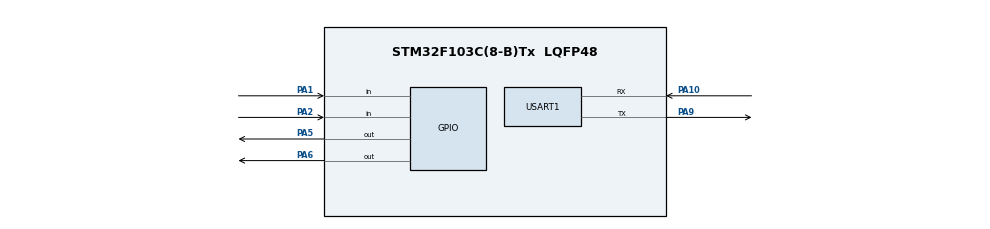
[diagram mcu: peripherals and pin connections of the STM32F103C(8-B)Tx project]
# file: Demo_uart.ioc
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Mcu.Family=STM32F1
Mcu.Name=STM32F103C(8-B)Tx
Mcu.Package=LQFP48
NVIC.PriorityGroup=NVIC_PRIORITYGROUP_4
NVIC.USART1_IRQn=true\:0\:0\:false\:false\:true\:true\:true\:true
PA0-WKUP.Mode=SYS_WakeUp0
PA0-WKUP.Signal=SYS_WKUP
PA1.GPIO_PuPd=GPIO_PULLUP
PA1.Signal=GPIO_Input
PA10.Mode=Multiprocessor_communication
PA10.Signal=USART1_RX
PA13.Mode=Serial_Wire
PA13.Signal=SYS_JTMS-SWDIO
PA14.Mode=Serial_Wire
PA14.Signal=SYS_JTCK-SWCLK
PA2.GPIO_PuPd=GPIO_PULLUP
PA2.Signal=GPIO_Input
PA5.Signal=GPIO_Output
PA6.Signal=GPIO_Output
PA9.Mode=Multiprocessor_communication
PA9.Signal=USART1_TX
PD0-OSC_IN.Mode=HSE-External-Oscillator
PD0-OSC_IN.Signal=RCC_OSC_IN
PD1-OSC_OUT.Mode=HSE-External-Oscillator
PD1-OSC_OUT.Signal=RCC_OSC_OUT
ProjectManager.HeapSize=0x200
ProjectManager.StackSize=0x400
ProjectManager.TargetToolchain=STM32CubeIDE
RCC.APB1Freq_Value=8000000
RCC.APB2Freq_Value=8000000
USART1.VirtualMode=VM_ASYNC
board=custom

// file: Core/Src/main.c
/* USER CODE BEGIN Header */
/**
  ******************************************************************************
  * @file           : main.c
  * @brief          : Main program body
  ******************************************************************************
  * @attention
  *
  * Copyright (c) 2025 STMicroelectronics.
  * All rights reserved.
  *
  * This software is licensed under terms that can be found in the LICENSE file
  * in the root directory of this software component.
  * If no LICENSE file comes with this software, it is provided AS-IS.
  *
  ******************************************************************************
  */
/* USER CODE END Header */
#include "main.h"
#include <stdio.h>
#include <string.h>

UART_HandleTypeDef huart1;

/* USER CODE BEGIN PV */

uint8_t led1_state = 0; //Biến trạng thái led1
uint8_t led2_state = 0; //Biến trạng thái led2

char rxBuffer[50]; // Bộ đệm lưu chuỗi nhận được
uint8_t rxIndex = 0; // Chỉ số bộ đệm
uint8_t rxChar; // Biến lưu ký tự nhận được

//Truyền kí tự ch qua Uart
int __io_putchar(int ch)
{
  HAL_UART_Transmit(&huart1, (uint8_t *)&ch, 1, HAL_MAX_DELAY); //(uint8_t*)&ch : ép kiểu sang con trỏ byte, vì UART cần địa chỉ byte để gửi
  return ch;
}

/* USER CODE END PV */

void SystemClock_Config(void);
static void MX_GPIO_Init(void);
static void MX_USART1_UART_Init(void);

int main(void)
{

  /* MCU Configuration--------------------------------------------------------*/

  /* Reset of all peripherals, Initializes the Flash interface and the Systick. */
  HAL_Init();

  /* Configure the system clock */
  SystemClock_Config();

  /* Initialize all configured peripherals */
  MX_GPIO_Init();
  MX_USART1_UART_Init();

  /* USER CODE BEGIN 2 */
  HAL_UART_Receive_IT(&huart1, &rxChar, 1); // Bắt đầu nhận ký tự đầu tiên
  printf("STM32 Ready\r\n");
  /* USER CODE END 2 */

  /* Infinite loop */
  /* USER CODE BEGIN WHILE */
  while (1)
  {
	  // Nút 1
	      if (HAL_GPIO_ReadPin(GPIOA, GPIO_PIN_1) == GPIO_PIN_RESET)
	      {
	        HAL_Delay(50); // Chống dội phím đơn giản
	        if (HAL_GPIO_ReadPin(GPIOA, GPIO_PIN_1) == GPIO_PIN_RESET)  // Kiểm tra lại lần nữa
	        {
	          led1_state = !led1_state; // Đảo trạng thái
	          HAL_GPIO_WritePin(GPIOA, GPIO_PIN_5, led1_state ? GPIO_PIN_SET : GPIO_PIN_RESET);

	          if (led1_state)
	            printf("LED1 ON\r\n");
	          else
	            printf("LED1 OFF\r\n");

	          // Chờ đến khi nhả nút
	          while (HAL_GPIO_ReadPin(GPIOA, GPIO_PIN_1) == GPIO_PIN_RESET);
	          HAL_Delay(50);  // Chống dội lần nhả
	        }
	      }

	      // Nút 2
	      if (HAL_GPIO_ReadPin(GPIOA, GPIO_PIN_2) == GPIO_PIN_RESET)
	      {
	        HAL_Delay(50);
	        if (HAL_GPIO_ReadPin(GPIOA, GPIO_PIN_2) == GPIO_PIN_RESET)
	        {
	          led2_state = !led2_state;
	          HAL_GPIO_WritePin(GPIOA, GPIO_PIN_6, led2_state ? GPIO_PIN_SET : GPIO_PIN_RESET);

	          if (led2_state)
	            printf("LED2 ON\r\n");
	          else
	            printf("LED2 OFF\r\n");

	          while (HAL_GPIO_ReadPin(GPIOA, GPIO_PIN_2) == GPIO_PIN_RESET);
	          HAL_Delay(50);
	        }
	      }

    /* USER CODE END WHILE */

  }
}

void SystemClock_Config(void)
{
  RCC_OscInitTypeDef RCC_OscInitStruct = {0};
  RCC_ClkInitTypeDef RCC_ClkInitStruct = {0};

  /** Initializes the RCC Oscillators according to the specified parameters
  * in the RCC_OscInitTypeDef structure.
  */
  RCC_OscInitStruct.OscillatorType = RCC_OSCILLATORTYPE_HSI;
  RCC_OscInitStruct.HSIState = RCC_HSI_ON;
  RCC_OscInitStruct.HSICalibrationValue = RCC_HSICALIBRATION_DEFAULT;
  RCC_OscInitStruct.PLL.PLLState = RCC_PLL_NONE;
  if (HAL_RCC_OscConfig(&RCC_OscInitStruct) != HAL_OK)
  {
    Error_Handler();
  }

  /** Initializes the CPU, AHB and APB buses clocks
  */
  RCC_ClkInitStruct.ClockType = RCC_CLOCKTYPE_HCLK|RCC_CLOCKTYPE_SYSCLK
                              |RCC_CLOCKTYPE_PCLK1|RCC_CLOCKTYPE_PCLK2;
  RCC_ClkInitStruct.SYSCLKSource = RCC_SYSCLKSOURCE_HSI;
  RCC_ClkInitStruct.AHBCLKDivider = RCC_SYSCLK_DIV1;
  RCC_ClkInitStruct.APB1CLKDivider = RCC_HCLK_DIV1;
  RCC_ClkInitStruct.APB2CLKDivider = RCC_HCLK_DIV1;

  if (HAL_RCC_ClockConfig(&RCC_ClkInitStruct, FLASH_LATENCY_0) != HAL_OK)
  {
    Error_Handler();
  }
}

static void MX_USART1_UART_Init(void)
{

  huart1.Instance = USART1;
  huart1.Init.BaudRate = 115200;
  huart1.Init.WordLength = UART_WORDLENGTH_8B;
  huart1.Init.StopBits = UART_STOPBITS_1;
  huart1.Init.Parity = UART_PARITY_NONE;
  huart1.Init.Mode = UART_MODE_TX_RX;
  huart1.Init.HwFlowCtl = UART_HWCONTROL_NONE;
  huart1.Init.OverSampling = UART_OVERSAMPLING_16;
  if (HAL_MultiProcessor_Init(&huart1, 0, UART_WAKEUPMETHOD_IDLELINE) != HAL_OK)
  {
    Error_Handler();
  }

}

static void MX_GPIO_Init(void)
{
  GPIO_InitTypeDef GPIO_InitStruct = {0};

  /* GPIO Ports Clock Enable */
  __HAL_RCC_GPIOD_CLK_ENABLE();
  __HAL_RCC_GPIOA_CLK_ENABLE();

  /*Configure GPIO pin Output Level */
  HAL_GPIO_WritePin(GPIOA, GPIO_PIN_5|GPIO_PIN_6, GPIO_PIN_RESET);

  /*Configure GPIO pins : PA1 PA2 */
  GPIO_InitStruct.Pin = GPIO_PIN_1|GPIO_PIN_2;
  GPIO_InitStruct.Mode = GPIO_MODE_INPUT;
  GPIO_InitStruct.Pull = GPIO_PULLUP;
  HAL_GPIO_Init(GPIOA, &GPIO_InitStruct);

  /*Configure GPIO pins : PA5 PA6 */
  GPIO_InitStruct.Pin = GPIO_PIN_5|GPIO_PIN_6;
  GPIO_InitStruct.Mode = GPIO_MODE_OUTPUT_PP;
  GPIO_InitStruct.Pull = GPIO_NOPULL;
  GPIO_InitStruct.Speed = GPIO_SPEED_FREQ_LOW;
  HAL_GPIO_Init(GPIOA, &GPIO_InitStruct);

}

/* USER CODE BEGIN 4 */
void HAL_UART_RxCpltCallback(UART_HandleTypeDef *huart)
{
  if (huart->Instance == USART1) 	//kiểm tra module uart
  {
	//Xử lí kí tự nhận được, kiểm tra xem chuỗi đã hoàn chỉnh chưa (r/ carriage return, n/ line feed
    if (rxChar == '\r' || rxChar == '\n') {
      rxBuffer[rxIndex] = '\0';			//đánh dâu kết thúc chuẩn C
      rxIndex = 0;						//đặt rxIndex để chuẩn bị nhận chuỗi mới

      printf("Received: [%s]\r\n", rxBuffer); // In chuỗi nhận được

      if (strstr(rxBuffer, "turn on led1")) {
        HAL_GPIO_WritePin(GPIOA, GPIO_PIN_5, GPIO_PIN_SET);
        printf("LED1 ON\r\n");
        led1_state = 1;
      }
      else if (strstr(rxBuffer, "turn off led1")) {
        HAL_GPIO_WritePin(GPIOA, GPIO_PIN_5, GPIO_PIN_RESET);
        printf("LED1 OFF\r\n");
        led1_state = 0;
      }
      else if (strstr(rxBuffer, "turn on led2")) {
        HAL_GPIO_WritePin(GPIOA, GPIO_PIN_6, GPIO_PIN_SET);
        printf("LED2 ON\r\n");
        led2_state = 1;
      }
      else if (strstr(rxBuffer, "turn off led2")) {
        HAL_GPIO_WritePin(GPIOA, GPIO_PIN_6, GPIO_PIN_RESET);
        printf("LED2 OFF\r\n");
        led2_state = 0;
      }
      else {
        printf("Unknown command: [%s]\r\n", rxBuffer);
      }
    }
    //Nếu ký tự nhận được không phải \r hoặc \n, lưu ký tự vào rxBuffer.
    else {
      if (rxIndex < sizeof(rxBuffer) - 1)
        rxBuffer[rxIndex++] = rxChar;
    }

    HAL_UART_Receive_IT(&huart1, &rxChar, 1); // tiếp tục nhận
  }
}

/* USER CODE END 4 */

void Error_Handler(void)
{
  __disable_irq();
  while (1)
  {
  }
}
